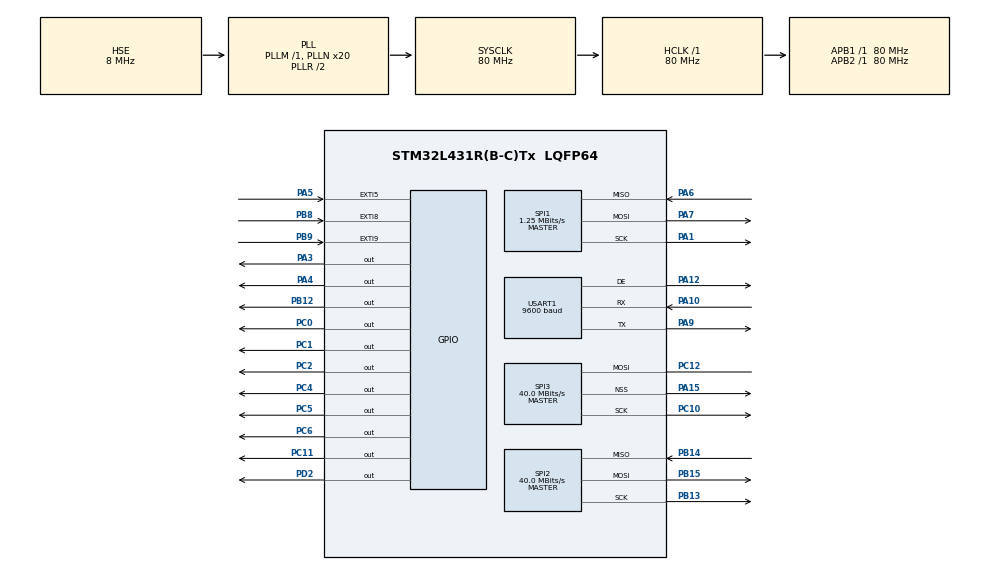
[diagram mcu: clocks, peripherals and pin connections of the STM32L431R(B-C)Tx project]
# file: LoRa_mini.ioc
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Mcu.Family=STM32L4
Mcu.Name=STM32L431R(B-C)Tx
Mcu.Package=LQFP64
NVIC.EXTI9_5_IRQn=true\:0\:0\:false\:false\:true\:true\:true\:true
NVIC.PriorityGroup=NVIC_PRIORITYGROUP_4
NVIC.RTC_WKUP_IRQn=true\:0\:0\:false\:false\:true\:true\:true\:true
NVIC.TIM1_BRK_TIM15_IRQn=true\:1\:0\:true\:false\:true\:true\:true\:true
NVIC.TIM2_IRQn=true\:0\:0\:false\:false\:true\:true\:true\:true
NVIC.TIM7_IRQn=true\:1\:0\:true\:false\:true\:true\:true\:true
NVIC.USART1_IRQn=true\:0\:0\:false\:false\:true\:true\:true\:true
PA1.Mode=Full_Duplex_Master
PA1.Signal=SPI1_SCK
PA10.Mode=Asynchronous
PA10.Signal=USART1_RX
PA12.Mode=Hardware Flow Control (RS485)
PA12.Signal=USART1_DE
PA13\ (JTMS-SWDIO).Mode=Serial_Wire
PA13\ (JTMS-SWDIO).Signal=SYS_JTMS-SWDIO
PA14\ (JTCK-SWCLK).Mode=Serial_Wire
PA14\ (JTCK-SWCLK).Signal=SYS_JTCK-SWCLK
PA15\ (JTDI).Mode=NSS_Signal_Hard_Output
PA15\ (JTDI).Signal=SPI3_NSS
PA3.PinState=GPIO_PIN_SET
PA3.Signal=GPIO_Output
PA4.Signal=GPIO_Output
PA5.Signal=GPXTI5
PA6.Mode=Full_Duplex_Master
PA6.Signal=SPI1_MISO
PA7.Mode=Full_Duplex_Master
PA7.Signal=SPI1_MOSI
PA9.Mode=Asynchronous
PA9.Signal=USART1_TX
PB12.GPIO_PuPd=GPIO_NOPULL
PB12.PinState=GPIO_PIN_SET
PB12.Signal=GPIO_Output
PB13.Mode=Full_Duplex_Master
PB13.Signal=SPI2_SCK
PB14.Mode=Full_Duplex_Master
PB14.Signal=SPI2_MISO
PB15.Mode=Full_Duplex_Master
PB15.Signal=SPI2_MOSI
PB8.GPIO_ModeDefaultEXTI=GPIO_MODE_IT_FALLING
PB8.Signal=GPXTI8
PB9.GPIO_ModeDefaultEXTI=GPIO_MODE_IT_FALLING
PB9.GPIO_PuPd=GPIO_NOPULL
PB9.Signal=GPXTI9
PC0.Signal=GPIO_Output
PC1.Signal=GPIO_Output
PC10.Mode=Simplex_Bidirectional_Master
PC10.Signal=SPI3_SCK
PC11.Signal=GPIO_Output
PC12.Mode=Simplex_Bidirectional_Master
PC12.Signal=SPI3_MOSI
PC14-OSC32_IN\ (PC14).Mode=LSE-External-Oscillator
PC14-OSC32_IN\ (PC14).Signal=RCC_OSC32_IN
PC15-OSC32_OUT\ (PC15).Mode=LSE-External-Oscillator
PC15-OSC32_OUT\ (PC15).Signal=RCC_OSC32_OUT
PC2.Signal=GPIO_Output
PC4.Signal=GPIO_Output
PC5.Signal=GPIO_Output
PC6.Signal=GPIO_Output
PD2.Signal=GPIO_Output
PH0-OSC_IN\ (PH0).Mode=HSE-External-Oscillator
PH0-OSC_IN\ (PH0).Signal=RCC_OSC_IN
PH1-OSC_OUT\ (PH1).Mode=HSE-External-Oscillator
PH1-OSC_OUT\ (PH1).Signal=RCC_OSC_OUT
ProjectManager.HeapSize=0x400
ProjectManager.StackSize=0x800
ProjectManager.TargetToolchain=STM32CubeIDE
RCC.ADCFreq_Value=32000000
RCC.AHBFreq_Value=80000000
RCC.APB1Freq_Value=80000000
RCC.APB1TimFreq_Value=80000000
RCC.APB2Freq_Value=80000000
RCC.APB2TimFreq_Value=80000000
RCC.CortexFreq_Value=80000000
RCC.HCLKFreq_Value=80000000
RCC.HSE_VALUE=8000000
RCC.HSI48_VALUE=48000000
RCC.HSI_VALUE=16000000
RCC.MSI_VALUE=4000000
RCC.PLLN=20
RCC.PLLSourceVirtual=RCC_PLLSOURCE_HSE
RCC.RTCClockSelection=RCC_RTCCLKSOURCE_LSE
RCC.SYSCLKFreq_VALUE=80000000
RCC.SYSCLKSource=RCC_SYSCLKSOURCE_PLLCLK
RCC.VCOOutputFreq_Value=160000000
RTC.Date=17
RTC.Format=RTC_FORMAT_BCD
RTC.Hours=9
RTC.Minutes=38
RTC.Month=RTC_MONTH_MARCH
RTC.WakeUpClock-WakeUp=RTC_WAKEUPCLOCK_CK_SPRE_16BITS
RTC.WakeUpCounter-WakeUp=10
RTC.WeekDay=RTC_WEEKDAY_SUNDAY
RTC.Year=24
SPI1.BaudRatePrescaler=SPI_BAUDRATEPRESCALER_64
SPI1.CalculateBaudRate=1.25 MBits/s
SPI1.DataSize=SPI_DATASIZE_8BIT
SPI1.Direction=SPI_DIRECTION_2LINES
SPI1.Mode=SPI_MODE_MASTER
SPI1.VirtualType=VM_MASTER
SPI2.CLKPhase=SPI_PHASE_1EDGE
SPI2.CLKPolarity=SPI_POLARITY_LOW
SPI2.CalculateBaudRate=40.0 MBits/s
SPI2.DataSize=SPI_DATASIZE_8BIT
SPI2.Direction=SPI_DIRECTION_2LINES
SPI2.Mode=SPI_MODE_MASTER
SPI2.VirtualType=VM_MASTER
SPI3.BaudRatePrescaler=SPI_BAUDRATEPRESCALER_2
SPI3.CalculateBaudRate=40.0 MBits/s
SPI3.DataSize=SPI_DATASIZE_8BIT
SPI3.Direction=SPI_DIRECTION_1LINE
SPI3.Mode=SPI_MODE_MASTER
SPI3.NSSPMode=SPI_NSS_PULSE_ENABLE
SPI3.VirtualNSS=VM_NSSHARD
SPI3.VirtualType=VM_MASTER
TIM15.Period=50000-1
TIM15.Prescaler=80-1
TIM2.Period=1000000-1
TIM2.Prescaler=80-1
TIM7.Period=5000-1
TIM7.Prescaler=80-1
USART1.BaudRate=9600
USART1.VirtualMode-Asynchronous=VM_ASYNC
USART1.VirtualMode-Hardware\ Flow\ Control\ (RS485)=VM_ASYNC
VP_RTC_VS_RTC_Activate.Mode=RTC_Enabled
VP_RTC_VS_RTC_Calendar.Mode=RTC_Calendar
VP_RTC_VS_RTC_WakeUp_intern.Mode=WakeUp
VP_TIM15_VS_ClockSourceINT.Mode=Internal
VP_TIM2_VS_ClockSourceINT.Mode=Internal
VP_TIM7_VS_ClockSourceINT.Mode=Enable_Timer
board=custom

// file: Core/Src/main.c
/* USER CODE BEGIN Header */
/**
  ******************************************************************************
  * @file           : main.c
  * @brief          : Main program body
  ******************************************************************************
  * @attention
  *
  * Copyright (c) 2024 STMicroelectronics.
  * All rights reserved.
  *
  * This software is licensed under terms that can be found in the LICENSE file
  * in the root directory of this software component.
  * If no LICENSE file comes with this software, it is provided AS-IS.
  *
  ******************************************************************************
  */
/* USER CODE END Header */
#include "main.h"
#include "rtc.h"
#include "spi.h"
#include "tim.h"
#include "usart.h"
#include "gpio.h"

/* USER CODE BEGIN Includes */
//#include "ST7789_Driver.h"
#include "xl1278smt_driver.h"
#include "W25QXX_Driver.h"
#include "lvgl.h"
#include "lv_port_disp.h"
#include "math.h"

/* USER CODE END Includes */

/* USER CODE BEGIN PTD */
//typedef enum {
//	KEY_STATE_DOWN = 0,
//	KEY_STATE_PRESS,
//	KEY_STATE_UP
//
//} Key_StateTypeDef;

typedef enum {
	KEY_NOEVENT = 0,
	KEY_DOWN,
	KEY_PRESS,
	KEY_UP,
	KEY_WFN,
	KEY_LOCK

} Key_EventTypeDef;

typedef struct {
	Key_EventTypeDef	KeyEvent;

	bool 		Shift;

	int			KeyCode;

	int			Modifiers;

	bool		Handled;

	void		(* KeyEventHandler)(void);

	void		(* KeyDownHandler)(void);

	void		(* KeyPressHandler)(void);

	void		(* KeyUpHandler)(void);

} Key_EventArgsTypeDef;

/* USER CODE END PTD */

/* USER CODE BEGIN PD */
#define RAM2 __attribute__((section (".ram2")))

#define LORATEST_MODE_TX			0
#define LORATEST_MODE_RX			1
#define LoRaTest_STATE_IDLE			0
#define LoRaTest_STATE_BUSY			1
#define LoRaTest_STATE_WAITFORIDLE	2
#define LORATEST_PKTSIZE			32

#define KEY_0			0
#define KEY_1			1
#define KEY_2			2
#define KEY_3			3

#define LED_WHITE()		do { \
						  HAL_GPIO_WritePin(GPIOC, GPIO_PIN_0 | GPIO_PIN_1 | GPIO_PIN_2, GPIO_PIN_RESET); \
      	  	  	  	  	} while(0)

#define LED_RED()		do { \
						  HAL_GPIO_WritePin(GPIOC, GPIO_PIN_1 | GPIO_PIN_2, GPIO_PIN_SET); \
						  HAL_GPIO_WritePin(GPIOC, GPIO_PIN_0, GPIO_PIN_RESET); \
      	  	  	  	  	} while(0)

#define LED_GREEN()		do { \
						  HAL_GPIO_WritePin(GPIOC, GPIO_PIN_0 | GPIO_PIN_2, GPIO_PIN_SET); \
						  HAL_GPIO_WritePin(GPIOC, GPIO_PIN_1, GPIO_PIN_RESET); \
      	  	  	  	  	} while(0)

#define LED_BLUE()		do { \
						  HAL_GPIO_WritePin(GPIOC, GPIO_PIN_0 | GPIO_PIN_1, GPIO_PIN_SET); \
						  HAL_GPIO_WritePin(GPIOC, GPIO_PIN_2, GPIO_PIN_RESET); \
      	  	  	  	  	} while(0)

#define LED_BLACK()		do { \
						  HAL_GPIO_WritePin(GPIOC, GPIO_PIN_0 | GPIO_PIN_1 | GPIO_PIN_2, GPIO_PIN_SET); \
	  	  				} while(0)

#define LED_DeInit()	do { \
		  	  	  	  	  HAL_GPIO_DeInit(GPIOC, GPIO_PIN_0 | GPIO_PIN_1 | GPIO_PIN_2); \
	  	  				} while(0)

/* USER CODE END PD */

void SystemClock_Config(void);
/* USER CODE BEGIN PFP */
uint32_t Get_SysTime(void);
void System_EnterSleep(void);
void System_EnterStop(void);
Key_EventTypeDef Key_GetEvent(void);
void Key_ClearEvent(void);
void Key_WaitForNext(void);
void Key_Lock(void);
void Key_UnLock(void);

/* USER CODE END PFP */

/* USER CODE BEGIN 0 */

/* 系统参数 */
uint32_t __SYS_TIME__ = 0;
uint32_t Screen_State = 0;
uint32_t Screen_Off_Timeout = 5000000;
uint32_t Screen_Off_Timeout_End;
uint32_t MCU_PowerOff_Timeout = 10000000;
uint32_t MCU_PowerOff_Timeout_End;

/* 输入输出设备 */
int click_num = 0;
Key_EventTypeDef key_event = KEY_NOEVENT;
int press_cnt = 0;
Key_EventArgsTypeDef Key_EventArgs = {0};

/* LoRa测试模式参数 */
int LoRaTest_Mode = LORATEST_MODE_RX;
int LoRaTest_State = LoRaTest_STATE_IDLE;
RAM2 uint8_t LoRaTest_TxData[256] = {0};
RAM2 uint8_t LoRaTest_RxData[256] = {0};
int LoRaTest_SendPktNum = 0;
int LoRaTest_RecvPktNum = 0;
int LoRaTest_SER = 0;
/**
 * @retval	系统运行时间
 */
uint32_t Get_SysTime(void)
{
	return __SYS_TIME__;
}

void LCD_PowerOff(void)
{
	HAL_GPIO_WritePin(GPIOC, GPIO_PIN_6, GPIO_PIN_RESET);
}

void LCD_PowerOn(void)
{
	HAL_GPIO_WritePin(GPIOC, GPIO_PIN_6, GPIO_PIN_SET);
}

/**
 *
 */
void LCD_Stop(void)
{
	HAL_SPI_DeInit(&hspi3);
//	HAL_GPIO_DeInit(LCD_BL_PORT, LCD_BL_PIN);
	HAL_GPIO_WritePin(LCD_BL_PORT, LCD_BL_PIN, GPIO_PIN_RESET);
//	HAL_GPIO_DeInit(LCD_DC_PORT, LCD_DC_PIN);
	HAL_GPIO_WritePin(LCD_DC_PORT, LCD_DC_PIN, GPIO_PIN_RESET);
	LCD_PowerOff();
}

/**
 *
 */
void LCD_WakeUp(void)
{
	LCD_PowerOn();
	HAL_SPI_Init(&hspi3);
	HAL_Delay(100);
	LCD_Init();
	lv_obj_t * scr_act = lv_scr_act();
	lv_scr_load(scr_act);
}

void LoRa_PowerOff(void)
{
	HAL_GPIO_WritePin(GPIOC, GPIO_PIN_5, GPIO_PIN_RESET);
}

void LoRa_PowerOn(void)
{
	HAL_GPIO_WritePin(GPIOC, GPIO_PIN_5, GPIO_PIN_SET);
}

/**
 *
 */
void LoRa_Stop(void)
{
	HAL_SPI_DeInit(LoRa0.SPI_Inst);
//	HAL_GPIO_DeInit(xl1278_DIO0_PORT, xl1278_DIO0_PIN);

//	HAL_GPIO_DeInit(xl1278_NSS_PORT, xl1278_NSS_PIN);
	HAL_GPIO_WritePin(xl1278_NSS_PORT, xl1278_NSS_PIN, GPIO_PIN_RESET);
//	HAL_GPIO_DeInit(xl1278_RESET_PORT, xl1278_RESET_PIN);
	HAL_GPIO_WritePin(xl1278_RESET_PORT, xl1278_RESET_PIN, GPIO_PIN_RESET);
	LoRa_PowerOff();

}

void LoRa_WakeUp(void)
{
	LoRa_PowerOn();
	HAL_SPI_Init(&hspi1);
	HAL_GPIO_WritePin(xl1278_NSS_PORT, xl1278_NSS_PIN, GPIO_PIN_SET);
	HAL_GPIO_WritePin(xl1278_RESET_PORT, xl1278_RESET_PIN, GPIO_PIN_SET);
}

void RS485_PowerOff(void)
{
	HAL_GPIO_WritePin(GPIOC, GPIO_PIN_4, GPIO_PIN_RESET);
}

void RS485_PowerOn(void)
{
	HAL_GPIO_WritePin(GPIOC, GPIO_PIN_4, GPIO_PIN_SET);
}

/**
 *
 */
void RS485_Stop(void)
{
	HAL_UART_DeInit(&huart1);
	RS485_PowerOff();
}

void RS485_WakeUp(void)
{
	RS485_PowerOn();
	MX_USART1_UART_Init();
}

void System_GPIO_CLK_DISABLE(void)
{
	__HAL_RCC_GPIOA_CLK_DISABLE();
	__HAL_RCC_GPIOB_CLK_DISABLE();
	__HAL_RCC_GPIOC_CLK_DISABLE();
	__HAL_RCC_GPIOD_CLK_DISABLE();
	__HAL_RCC_GPIOH_CLK_DISABLE();
}
void System_GPIO_CLK_ENABLE(void)
{
	__HAL_RCC_GPIOC_CLK_ENABLE();
	__HAL_RCC_GPIOH_CLK_ENABLE();
	__HAL_RCC_GPIOA_CLK_ENABLE();
	__HAL_RCC_GPIOB_CLK_ENABLE();
	__HAL_RCC_GPIOD_CLK_ENABLE();
}

void System_TIM_Init(void)
{
	MX_TIM2_Init();
	MX_TIM7_Init();
	MX_TIM15_Init();
}

void System_TIM_DeInit(void)
{
	HAL_TIM_Base_DeInit(&htim2);
	HAL_TIM_Base_DeInit(&htim7);
	HAL_TIM_Base_DeInit(&htim15);
}

void System_SetWakeUpTime(uint32_t time_seconds)
{
	HAL_RTCEx_SetWakeUpTimer_IT(&hrtc, time_seconds, RTC_WAKEUPCLOCK_CK_SPRE_16BITS);
}
/**
 * @brief	进入睡眠模式
 */
void System_EnterSleep(void)
{
	HAL_SuspendTick();
	HAL_PWR_EnterSLEEPMode(PWR_MAINREGULATOR_ON, PWR_SLEEPENTRY_WFI);
	HAL_ResumeTick();
}

/**
 * @brief	进入停止模式
 */
void System_EnterStop(void)
{
	HAL_TIM_Base_Stop_IT(&htim7);
	HAL_TIM_Base_Stop_IT(&htim15);
	HAL_TIM_Base_Stop_IT(&htim2);
	LED_BLACK();
	LoRa_Stop();
	HAL_SPI_DeInit(&hspi2);
	LCD_Stop();
	RS485_Stop();
	/* 设置下次唤醒的时�??? */
	System_SetWakeUpTime(15);
//	HAL_SuspendTick();
//	HAL_GPIO_WritePin(GPIOC, GPIO_PIN_0 | GPIO_PIN_1 | GPIO_PIN_2, GPIO_PIN_SET);
	System_TIM_DeInit();
	System_GPIO_CLK_DISABLE();
    // 使能PWR时钟
//    __HAL_RCC_PWR_CLK_ENABLE();
    // 清除唤醒标记
//    __HAL_PWR_CLEAR_FLAG(PWR_FLAG_WU);

	HAL_PWR_EnterSTOPMode(PWR_LOWPOWERREGULATOR_ON, PWR_STOPENTRY_WFI);
//	HAL_ResumeTick();
	HAL_RTCEx_DeactivateWakeUpTimer(&hrtc);

	/* 重新配置时钟 */
	SystemClock_Config();
	System_GPIO_CLK_ENABLE();
	System_TIM_Init();

	LoRa_WakeUp();
	HAL_SPI_Init(&hspi2);
	LCD_WakeUp();
	RS485_WakeUp();
	Key_WaitForNext();

	HAL_TIM_Base_Start_IT(&htim2);
	HAL_TIM_Base_Start_IT(&htim7);
	HAL_TIM_Base_Start_IT(&htim15);
	Screen_Off_Timeout_End = Get_SysTime() + Screen_Off_Timeout;
	MCU_PowerOff_Timeout_End = Get_SysTime() + MCU_PowerOff_Timeout;
	LED_WHITE();

}

Key_EventTypeDef Key_GetEvent(void)
{

	if (Key_EventArgs.KeyEvent == KEY_DOWN) {
		Key_EventArgs.KeyEvent = KEY_PRESS;
		return KEY_DOWN;
	}

	if (Key_EventArgs.KeyEvent == KEY_UP) {
		Key_EventArgs.KeyEvent = KEY_NOEVENT;
		return KEY_UP;
	}

	return Key_EventArgs.KeyEvent;
}

void Key_ClearEvent(void)
{
	Key_EventArgs.KeyEvent = KEY_NOEVENT;
}

void Key_WaitForNext(void)
{
	Key_EventArgs.KeyEvent = KEY_WFN;
}

void Key_Lock(void)
{
	Key_EventArgs.KeyEvent = KEY_LOCK;
}

void Key_UnLock(void)
{
	Key_EventArgs.KeyEvent = KEY_NOEVENT;
}

void CheakSER(void)
{
	int SEN = 0;
	for (int i=0; i<LORATEST_PKTSIZE; i++) {
		if (LoRaTest_RxData[i] != LoRaTest_TxData[i])
			SEN++;
	}
	LoRaTest_SER = (float)SEN * 100 / LORATEST_PKTSIZE;
}

static lv_obj_t * scr_init;
static lv_obj_t * scr_main;
static lv_obj_t * scr1;
static lv_obj_t * scr2;
static lv_obj_t * scr3;
//static lv_obj_t * scr_setting;

static lv_style_t scr1_style;  //创建style
static lv_style_t scr2_style;  //创建style
static lv_style_t scr3_style;  //创建style

static lv_obj_t *scr2_lables[7] = {0};
//static lv_obj_t *scr_setting_lables[3] = {0};
int scr_sel_lab = 0;

lv_obj_t * label;
lv_obj_t * label2;
lv_obj_t * label3;
lv_obj_t * label4;
lv_obj_t * label5;
lv_obj_t * label6;
lv_obj_t * label7;
lv_obj_t * label8;
lv_obj_t * label9;
lv_obj_t * line0;
static lv_point_t line_points[] = { {120, 200}, {120, 200} };

lv_obj_t * slider1;
static lv_color_t bg_color;

void lv_scr_init(void)
{
	//创建屏幕
	scr_init = lv_obj_create(NULL);
	scr_main = lv_obj_create(NULL);
	scr1 = lv_obj_create(NULL);
	scr2 = lv_obj_create(NULL);
	scr3 = lv_obj_create(NULL);

	lv_style_init(&scr1_style);
	lv_style_set_bg_opa(&scr1_style, LV_OPA_COVER);
	bg_color = lv_color_make(255, 255, 255);
	lv_style_set_bg_color(&scr1_style, bg_color);
	lv_obj_add_style(scr1, &scr1_style,0);

	lv_style_init(&scr2_style);
	lv_style_set_bg_opa(&scr2_style, LV_OPA_COVER);
	bg_color = lv_color_make(0, 0, 0);
	lv_style_set_bg_color(&scr2_style, bg_color);
	lv_obj_add_style(scr2, &scr2_style, 0);

	lv_style_init(&scr3_style);
	lv_style_set_bg_opa(&scr3_style, LV_OPA_COVER);
	bg_color = lv_color_make(127, 127, 255);
	lv_style_set_bg_color(&scr3_style, bg_color);
	lv_obj_add_style(scr3, &scr3_style, 0);

}

void lv_ex_label(void)
{

	/* 传感器信息屏�?????????????? */
	label = lv_label_create(scr1);
    lv_label_set_recolor(label, true);
    lv_label_set_long_mode(label, LV_LABEL_LONG_CLIP); /*Circular scroll*/
    lv_obj_set_width(label, 240);
    lv_obj_set_height(label, 20);
    lv_label_set_text_fmt(label, "#000000 Hello, World!#");
    lv_obj_align(label, LV_ALIGN_TOP_LEFT, 0, 0);

	label2 = lv_label_create(scr1);
    lv_label_set_recolor(label2, true);
    lv_label_set_long_mode(label2, LV_LABEL_LONG_CLIP); /*Circular scroll*/
    lv_obj_set_width(label2, 240);
    lv_obj_set_height(label2, 20);
    lv_label_set_text_fmt(label2, "#000000 click: %d#", click_num);
    lv_obj_align(label2, LV_ALIGN_TOP_LEFT, 0, 20);

	label7 = lv_label_create(scr1);
    lv_label_set_recolor(label7, true);
    lv_label_set_long_mode(label7, LV_LABEL_LONG_CLIP); /*Circular scroll*/
    lv_obj_set_width(label7, 240);
    lv_obj_set_height(label7, 20);
    lv_label_set_text_fmt(label7, "#000000 time: %lu#", __SYS_TIME__);
    lv_obj_align(label7, LV_ALIGN_BOTTOM_LEFT, 0, 0);

    line0 = lv_line_create(scr1);
    lv_line_set_points(line0, line_points, sizeof(line_points) / sizeof(lv_point_t));
    lv_obj_set_style_line_width(line0, 5, LV_PART_MAIN);

}

void lv_scr2_init(void)
{
    scr2_lables[0] = lv_label_create(scr2);
    lv_label_set_recolor(scr2_lables[0], true);
    lv_label_set_long_mode(scr2_lables[0], LV_LABEL_LONG_CLIP); /*Circular scroll*/
//    lv_obj_set_width(scr2_lables[0], 240);
//    lv_obj_set_height(scr2_lables[0], 20);
    lv_label_set_text_fmt(scr2_lables[0], "#ffffff LoRa Test#");
    lv_obj_align(scr2_lables[0], LV_ALIGN_TOP_MID, 0, 0);

    scr2_lables[1] = lv_label_create(scr2);
    lv_label_set_recolor(scr2_lables[1], true);
    lv_label_set_long_mode(scr2_lables[1], LV_LABEL_LONG_CLIP); /*Circular scroll*/
    if (LoRaTest_Mode == LORATEST_MODE_TX) {
    	lv_label_set_text_fmt(scr2_lables[1], "#ffffff Mode: TX#");
    }
    else {
    	lv_label_set_text_fmt(scr2_lables[1], "#ffffff Mode: RX#");
    }

    lv_obj_align(scr2_lables[1], LV_ALIGN_TOP_MID, 0, 60);

    scr2_lables[2] = lv_label_create(scr2);
    lv_label_set_recolor(scr2_lables[2], true);
    lv_label_set_long_mode(scr2_lables[2], LV_LABEL_LONG_CLIP); /*Circular scroll*/
    lv_label_set_text_fmt(scr2_lables[2], "#ffffff Start!#");
    lv_obj_align(scr2_lables[2], LV_ALIGN_TOP_MID, 0, 80);

    scr2_lables[3] = lv_label_create(scr2);
    lv_label_set_recolor(scr2_lables[3], true);
    lv_label_set_long_mode(scr2_lables[3], LV_LABEL_LONG_WRAP); /*Circular scroll*/
    lv_obj_set_width(scr2_lables[3], 240);
    lv_obj_set_height(scr2_lables[3], 20);
    lv_obj_align(scr2_lables[3], LV_ALIGN_CENTER, 0, 0);

    scr2_lables[4] = lv_label_create(scr2);
    lv_label_set_recolor(scr2_lables[4], true);
    lv_label_set_long_mode(scr2_lables[4], LV_LABEL_LONG_WRAP); /*Circular scroll*/
    lv_obj_set_width(scr2_lables[4], 240);
    lv_obj_set_height(scr2_lables[4], 100);
    lv_obj_align(scr2_lables[4], LV_ALIGN_TOP_LEFT, 0, 200);

}

void scr_sel_lable(int sel_num)
{
	static lv_style_t sel_style;

	lv_style_init(&sel_style);
	lv_style_set_radius(&sel_style, 5);
	lv_style_set_bg_opa(&sel_style, LV_OPA_COVER);
	bg_color = lv_color_make(100, 100, 200);
	lv_style_set_bg_color(&sel_style, bg_color);

	for (int i=0; i<3; i++) {
		if (i != sel_num) {
			lv_obj_remove_style(scr2_lables[i], &sel_style, 0);
		}
		else {
			lv_obj_add_style(scr2_lables[i], &sel_style, 0);
		}
	}
}

/**
 * @brief	RTC唤醒回调函数
 */
void HAL_RTCEx_WakeUpTimerEventCallback(RTC_HandleTypeDef *hrtc)
{

}

void HAL_GPIO_EXTI_Callback(uint16_t GPIO_Pin)
{
	if (GPIO_Pin == GPIO_PIN_5) {
		if (LoRa0.State == DEVICE_STATE_BUSY_TX) {
			LoRa0.TxCpltCallback();
		}
		else if (LoRa0.State == DEVICE_STATE_BUSY_RX) {
			LoRa0.RxCpltCallback();
		}
	}
}

void xl1278_TxCpltCallback(void)
{
	xl1278_ClearIrq(LoRa0.SPI_Inst);

	if (LoRaTest_State == LoRaTest_STATE_BUSY) {
		LoRaTest_SendPktNum++;

		xl1278_TxPacket(LoRa0.SPI_Inst, LoRaTest_TxData, LORATEST_PKTSIZE);
		lv_label_set_text_fmt(scr2_lables[4], "#ffffff Send Pkt Num: %d#", LoRaTest_SendPktNum);
	}
	else if (LoRaTest_State == LoRaTest_STATE_WAITFORIDLE) {
		xl1278_SetSleep(LoRa0.SPI_Inst);
		LoRa0.State = DEVICE_STATE_IDLE;
		lv_label_set_text_fmt(scr2_lables[2], "#ffffff Start!#");
		lv_label_set_text_fmt(scr2_lables[3], " ");
		HAL_GPIO_WritePin(GPIOC, GPIO_PIN_0 | GPIO_PIN_1 | GPIO_PIN_2, GPIO_PIN_RESET);
		LoRaTest_State = LoRaTest_STATE_IDLE;
	}
	else {
		xl1278_SetSleep(LoRa0.SPI_Inst);
		LoRa0.State = DEVICE_STATE_IDLE;
	}
}

void xl1278_RxCpltCallback(void)
{
	uint16_t recv_pktsize;
	int snr;
	int rssi;

	xl1278_ClearIrq(LoRa0.SPI_Inst);
	xl1278_RxPacket(LoRa0.SPI_Inst, LoRaTest_RxData, &recv_pktsize);
	if (LoRaTest_State == LoRaTest_STATE_BUSY) {
		if (recv_pktsize == LORATEST_PKTSIZE) {
			LoRaTest_RecvPktNum++;
			CheakSER();

			xl1278_GetSNR(LoRa0.SPI_Inst, &snr);
			xl1278_GetRSSI(LoRa0.SPI_Inst, &rssi);
			lv_label_set_text_fmt(scr2_lables[4], "#ffffff Rcvd Pkt Num: %d# \n#ffffff SNR: %d dB# \n#ffffff RSSI: %d dBm# \n#ffffff SER: %d %%#",
					LoRaTest_RecvPktNum, snr, rssi, LoRaTest_SER);
		}
		else {
			lv_label_set_text_fmt(scr2_lables[3], "#ff0000 Multiple Transmitters!#");
		}
	}
	else {
		xl1278_SetSleep(LoRa0.SPI_Inst);
		LoRa0.State = DEVICE_STATE_IDLE;
	}
}

void HAL_UART_RxCpltCallback(UART_HandleTypeDef *huart)
{
	if (huart == &huart1)
	{

	}
}

void HAL_TIM_PeriodElapsedCallback(TIM_HandleTypeDef *htim)
{
	if (htim == &htim7)
	{
		lv_tick_inc(5);
	}
	else if (htim == &htim15)
	{
		if ((GPIOB->IDR & (GPIO_PIN_8 | GPIO_PIN_9)) != (GPIO_PIN_8 | GPIO_PIN_9)) {
			if (HAL_GPIO_ReadPin(GPIOB, GPIO_PIN_9) == GPIO_PIN_RESET) {
				if (Key_EventArgs.KeyEvent == KEY_NOEVENT) {
					Key_EventArgs.KeyEvent = KEY_DOWN;
				}
				else if (Key_EventArgs.KeyEvent == KEY_PRESS) {
					press_cnt++;
				}

				Key_EventArgs.KeyCode = KEY_0;
				LCD_DisplayOn();
				Screen_Off_Timeout_End = Get_SysTime() + Screen_Off_Timeout;
				MCU_PowerOff_Timeout_End = Get_SysTime() + MCU_PowerOff_Timeout;
			}
			else if (HAL_GPIO_ReadPin(GPIOB, GPIO_PIN_8) == GPIO_PIN_RESET) {
				if (Key_EventArgs.KeyEvent == KEY_NOEVENT) {
					Key_EventArgs.KeyEvent = KEY_DOWN;
				}
				else if (Key_EventArgs.KeyEvent == KEY_PRESS) {
					press_cnt++;
				}

				Key_EventArgs.KeyCode = KEY_1;
				LCD_DisplayOn();
				Screen_Off_Timeout_End = Get_SysTime() + Screen_Off_Timeout;
				MCU_PowerOff_Timeout_End = Get_SysTime() + MCU_PowerOff_Timeout;
			}
		}
		else {
			if (Key_EventArgs.KeyEvent != KEY_NOEVENT)
			{
				if (Key_EventArgs.KeyEvent == KEY_LOCK)
					Key_EventArgs.KeyEvent = KEY_LOCK;
				else if (Key_EventArgs.KeyEvent == KEY_WFN)
					Key_EventArgs.KeyEvent = KEY_NOEVENT;
				else
					Key_EventArgs.KeyEvent = KEY_UP;

				press_cnt = 0;
			}

		}

	}
	else if (htim == &htim2)
	{
		__SYS_TIME__++;

		if (LoRaTest_State != LoRaTest_STATE_IDLE) {
			Screen_Off_Timeout_End = Get_SysTime() + Screen_Off_Timeout;
			MCU_PowerOff_Timeout_End = Get_SysTime() + MCU_PowerOff_Timeout;
		}
		if (Get_SysTime() > Screen_Off_Timeout_End) {
			LCD_DisplayOff();
		}
	}
}

uint8_t reg_read;

/* USER CODE END 0 */

int main(void)
{

  /* MCU Configuration--------------------------------------------------------*/

  /* Reset of all peripherals, Initializes the Flash interface and the Systick. */
  HAL_Init();

  /* Configure the system clock */
  SystemClock_Config();

  /* Initialize all configured peripherals */
  MX_GPIO_Init();
  MX_USART1_UART_Init();
  MX_SPI1_Init();
  MX_SPI2_Init();
  MX_SPI3_Init();
  MX_TIM2_Init();
  MX_TIM7_Init();
  MX_TIM15_Init();
  MX_RTC_Init();
  /* USER CODE BEGIN 2 */

//  LoRa_Init();
//  while (0) {
//	  if (LoRa0.State == DEVICE_STATE_IDLE) {
//		  xl1278_TxPacket(LoRa0.SPI_Inst, LoRaTest_TxData, LORATEST_PKTSIZE);
////		  xl1278_SetRxContConfig(LoRa0.SPI_Inst);
//		  LoRa0.State = DEVICE_STATE_BUSY_TX;
//	  }
//
//	  xl1278_RegRead(LoRa0.SPI_Inst, xl1278_RegOpMode, &reg_read);
//  }

  LCD_PowerOn();
  LoRa_PowerOn();
  RS485_PowerOn();

  LED_WHITE();
  HAL_Delay(100);

  for (int i=0; i<LORATEST_PKTSIZE; i++) {
	  LoRaTest_TxData[i] = i;
  }

  W25QXX_Init();
//  W25QXX_PowerDonw_Enable(&flash1);
  W25QXX_Read(&flash1, (uint8_t *)&click_num, 0, 4);

  HAL_TIM_Base_Start_IT(&htim7);
  HAL_TIM_Base_Start_IT(&htim15);

  lv_init();
  lv_port_disp_init();
  lv_scr_init();
  lv_ex_label();
  lv_scr2_init();
  lv_scr_load(scr_init);

  lv_obj_t *init_label = lv_label_create(scr_init);
  lv_label_set_recolor(init_label, true);
  lv_label_set_long_mode(init_label, LV_LABEL_LONG_WRAP); /*Circular scroll*/
  lv_obj_set_width(init_label, 240);
//  lv_obj_set_height(init_label, 20);
  lv_label_set_text_fmt(init_label, "#000000 System Initializing...#");
  lv_obj_align(init_label, LV_ALIGN_CENTER, 0, 0);
  lv_task_handler();
  HAL_Delay(100);

  LoRa_Init();

  if (LoRa0.State == DEVICE_NOTFOUND) {
	  lv_label_set_text_fmt(init_label, "#ff0000 LoRa Device Not Found, # #ff0000 Please Cheak Your Device!# \r\n#000000 Press Any Key To Continue...#");
  }
  else {
	  lv_label_set_text_fmt(init_label, "#000000 Initialized Successfully.# \r\n#000000 Press Any Key To Continue...#");
  }
  lv_task_handler();
  HAL_Delay(100);
  Screen_Off_Timeout_End = Get_SysTime() + Screen_Off_Timeout;
  MCU_PowerOff_Timeout_End = Get_SysTime() + MCU_PowerOff_Timeout;
  HAL_TIM_Base_Start_IT(&htim2);

  /* USER CODE END 2 */

  /* Infinite loop */
  while (1)
  {

    /* USER CODE BEGIN 3 */

	  HAL_Delay(4);
	  switch (Key_GetEvent()) {
  	  	  case KEY_NOEVENT: {

  	  		  break;
  	  	  }

	  	  case KEY_DOWN: {
			  lv_obj_t * scr_act = lv_scr_act();

			  if (scr_act == scr_init) {
				  Key_WaitForNext();
				  lv_scr_load(scr2);
				  scr_sel_lable(scr_sel_lab);
				  lv_obj_del(scr_init);
			  }
			  else if (scr_act == scr_main) {

			  }
			  else if (scr_act == scr1) {
				  click_num++;
				  lv_label_set_text_fmt(label2, "#000000 click: %d#", click_num);
				  W25QXX_Erase_Sector(&flash1, 0);
				  W25QXX_WritePage(&flash1, (uint8_t *)&click_num, 0, 4);
			  }

	  		  break;
	  	  }

	  	  case KEY_PRESS: {
			  lv_obj_t * scr_act = lv_scr_act();

			  if (scr_act == scr1) {
				  if (press_cnt > 60) {
					  Key_WaitForNext();
					  lv_scr_load(scr2);
					  scr_sel_lable(scr_sel_lab);
				  }
			  }
			  else if (scr_act == scr2) {
				  if (press_cnt > 60) {
					  Key_WaitForNext();
					  lv_scr_load(scr1);
				  }
			  }
	  		  break;
	  	  }

	  	  case KEY_UP: {
			  lv_obj_t * scr_act = lv_scr_act();

			  if (scr_act == scr2) {
				  if (LoRaTest_State == LoRaTest_STATE_IDLE) {
					  if (Key_EventArgs.KeyCode == KEY_0) {
						  LoRaTest_Mode = LORATEST_MODE_TX;
					  }
					  else if (Key_EventArgs.KeyCode == KEY_1) {
						  LoRaTest_Mode = LORATEST_MODE_RX;
					  }

					  LoRaTest_State = LoRaTest_STATE_BUSY;
					  HAL_GPIO_WritePin(GPIOC, GPIO_PIN_0 | GPIO_PIN_1 | GPIO_PIN_2, GPIO_PIN_SET);
					  HAL_GPIO_WritePin(GPIOC, GPIO_PIN_0, GPIO_PIN_RESET);
					  lv_label_set_text_fmt(scr2_lables[2], "#ffff00 Waitting...#");
					  lv_task_handler();
					  LoRa_Init();
					  if (LoRa0.State == DEVICE_NOTFOUND) {
						  lv_label_set_text_fmt(scr2_lables[2], "#ffffff Start!#");
						  lv_label_set_text_fmt(scr2_lables[3], "#ff0000 LoRa Device Not Found, # #ff0000 Please Cheak Your Device!# \r\n#ffffff Press Any Key To Continue...#");
						  LoRaTest_State = LoRaTest_STATE_IDLE;
						  break;
					  }

					  lv_label_set_text_fmt(scr2_lables[2], "#ff0f0f Stop#");

					  if (LoRaTest_Mode == LORATEST_MODE_TX) {
						  LoRaTest_SendPktNum = 0;

						  lv_label_set_text_fmt(scr2_lables[1], "#ffffff Mode: TX#");
						  lv_label_set_text_fmt(scr2_lables[3], "#ff0000 Transmitting Test Data...#");
						  lv_label_set_text_fmt(scr2_lables[4], "#ffffff Send Pkt Num: %d#", LoRaTest_SendPktNum);
						  xl1278_TxPacket(LoRa0.SPI_Inst, LoRaTest_TxData, LORATEST_PKTSIZE);
						  LoRa0.State = DEVICE_STATE_BUSY_TX;
					  }
					  else {
						  LoRaTest_RecvPktNum = 0;

						  lv_label_set_text_fmt(scr2_lables[1], "#ffffff Mode: RX#");
						  lv_label_set_text_fmt(scr2_lables[3], "#ff0000 Receiving Test Data...#");
						  lv_label_set_text_fmt(scr2_lables[4], "#ffffff Rcvd Pkt Num: %d#", LoRaTest_RecvPktNum);
						  xl1278_SetRxContConfig(LoRa0.SPI_Inst);
						  LoRa0.State = DEVICE_STATE_BUSY_RX;
					  }
				  }
				  else {
					  if (LoRaTest_Mode == LORATEST_MODE_TX) {
						  lv_label_set_text_fmt(scr2_lables[2], "#ffff00 Waitting...#");
						  LoRaTest_State = LoRaTest_STATE_WAITFORIDLE;
					  }
					  else {
						  xl1278_SetSleep(LoRa0.SPI_Inst);
						  LoRa0.State = DEVICE_STATE_IDLE;
						  lv_label_set_text_fmt(scr2_lables[2], "#ffffff Start!#");
						  lv_label_set_text_fmt(scr2_lables[3], " ");
						  HAL_GPIO_WritePin(GPIOC, GPIO_PIN_0 | GPIO_PIN_1 | GPIO_PIN_2, GPIO_PIN_RESET);
						  LoRaTest_State = LoRaTest_STATE_IDLE;
					  }
				  }
			  }

	  		  break;
	  	  } // KEY_UP事件结束

	  	  default: {
	  		  break;
	  	  }
	  }

	  lv_label_set_text_fmt(label7, "#000000 time: %lu#", __SYS_TIME__);
	  if (Get_SysTime() > MCU_PowerOff_Timeout_End) {
		  System_EnterStop();

	  }
	  lv_task_handler();

  }
  /* USER CODE END 3 */
}

void SystemClock_Config(void)
{
  RCC_OscInitTypeDef RCC_OscInitStruct = {0};
  RCC_ClkInitTypeDef RCC_ClkInitStruct = {0};

  /** Configure the main internal regulator output voltage
  */
  if (HAL_PWREx_ControlVoltageScaling(PWR_REGULATOR_VOLTAGE_SCALE1) != HAL_OK)
  {
    Error_Handler();
  }

  /** Configure LSE Drive Capability
  */
  HAL_PWR_EnableBkUpAccess();
  __HAL_RCC_LSEDRIVE_CONFIG(RCC_LSEDRIVE_LOW);

  /** Initializes the RCC Oscillators according to the specified parameters
  * in the RCC_OscInitTypeDef structure.
  */
  RCC_OscInitStruct.OscillatorType = RCC_OSCILLATORTYPE_HSE|RCC_OSCILLATORTYPE_LSE;
  RCC_OscInitStruct.HSEState = RCC_HSE_ON;
  RCC_OscInitStruct.LSEState = RCC_LSE_ON;
  RCC_OscInitStruct.PLL.PLLState = RCC_PLL_ON;
  RCC_OscInitStruct.PLL.PLLSource = RCC_PLLSOURCE_HSE;
  RCC_OscInitStruct.PLL.PLLM = 1;
  RCC_OscInitStruct.PLL.PLLN = 20;
  RCC_OscInitStruct.PLL.PLLP = RCC_PLLP_DIV7;
  RCC_OscInitStruct.PLL.PLLQ = RCC_PLLQ_DIV2;
  RCC_OscInitStruct.PLL.PLLR = RCC_PLLR_DIV2;
  if (HAL_RCC_OscConfig(&RCC_OscInitStruct) != HAL_OK)
  {
    Error_Handler();
  }

  /** Initializes the CPU, AHB and APB buses clocks
  */
  RCC_ClkInitStruct.ClockType = RCC_CLOCKTYPE_HCLK|RCC_CLOCKTYPE_SYSCLK
                              |RCC_CLOCKTYPE_PCLK1|RCC_CLOCKTYPE_PCLK2;
  RCC_ClkInitStruct.SYSCLKSource = RCC_SYSCLKSOURCE_PLLCLK;
  RCC_ClkInitStruct.AHBCLKDivider = RCC_SYSCLK_DIV1;
  RCC_ClkInitStruct.APB1CLKDivider = RCC_HCLK_DIV1;
  RCC_ClkInitStruct.APB2CLKDivider = RCC_HCLK_DIV1;

  if (HAL_RCC_ClockConfig(&RCC_ClkInitStruct, FLASH_LATENCY_4) != HAL_OK)
  {
    Error_Handler();
  }
}

void Error_Handler(void)
{
  __disable_irq();
  while (1)
  {
  }
}
